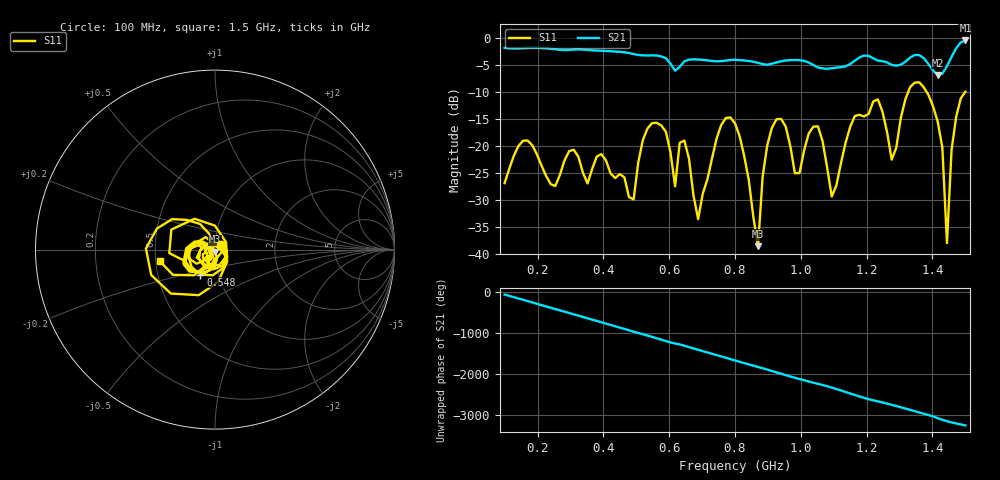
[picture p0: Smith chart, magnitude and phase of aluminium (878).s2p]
! NanoVNA-App
! Date: 2025-09-25 15:02:07
! Start: 100MHz Stop: 1,5GHz Points: 101
! S-Parameter data: F S11 S21 S12 S22
# Hz S RI R 50
!  Frequency  S11_Real  S11_Imag  S21_Real  S21_Imag  S12_Real  S12_Imag  S22_Real  S22_Imag
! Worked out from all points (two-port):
!   101 points, 100 MHz to 1.5 GHz, reference 50 ohm
!   highest |S21| = -0.54 dB at 1.5 GHz (marker M1); lowest = -6.9 dB at 1.416 GHz (marker M2)
!   |S21| within 3 dB of the highest: start of sweep to 577.6 MHz; 1.458 GHz to end of sweep (the widest 2 of 4)
!   lowest |S11| = -38.6 dB at 870 MHz (marker M3), VSWR 1.02, Z = 50 - j1.17 ohm
!   |S11| at or under -10 dB: start of sweep to 1.327 GHz; 1.381 GHz to end of sweep
!   S12 and S22 are empty: the file has one direction only
!   S11 on the Smith chart (normalised r, x): 100 MHz: 1.07, +0.06; 548 MHz: 0.82, -0.23; 1.5 GHz: 0.52, -0.07
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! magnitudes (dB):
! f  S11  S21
! 100 MHz  -27.0  -1.9
! 156 MHz  -19.1  -2.0
! 338 MHz  -25.0  -2.2
! 492 MHz  -30.0  -3.1
! 548 MHz  -15.9  -3.3
! 576 MHz  -16.3  -3.5
! 618 MHz  -27.6  -6.1
! 646 MHz  -19.1  -4.4
! 688 MHz  -33.6  -4.1
! 800 MHz  -15.9  -4.1
! 870 MHz  -38.6  -4.7
! 912 MHz  -16.7  -4.8
! 982 MHz  -25.1  -4.2
! 1.038 GHz  -16.5  -5.1
! 1.094 GHz  -29.5  -5.7
! 1.22 GHz  -11.9  -3.8
! 1.276 GHz  -22.6  -5.1
! 1.346 GHz  -8.3  -3.2
! 1.416 GHz  -15.6  -6.9
! 1.444 GHz  -38.1  -5.3
! 1.458 GHz  -20.8  -3.6
! 1.5 GHz  -10.0  -0.5
